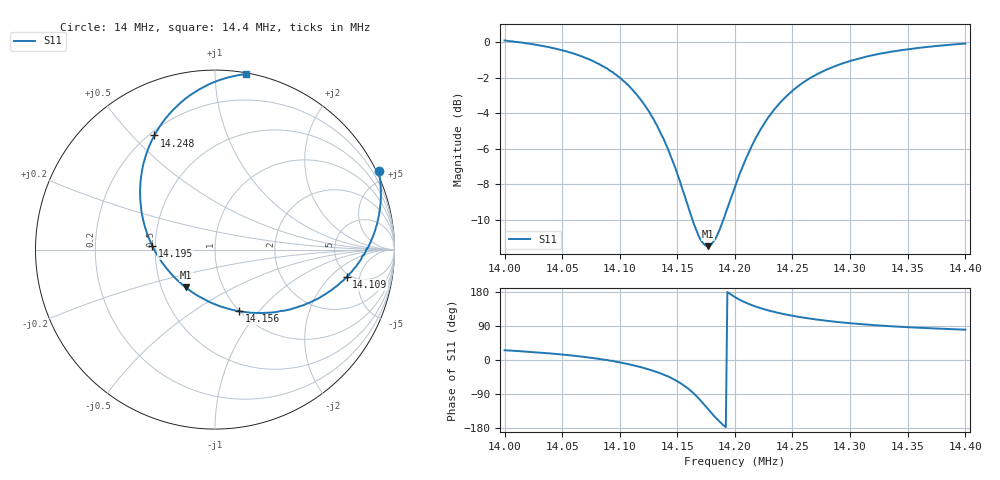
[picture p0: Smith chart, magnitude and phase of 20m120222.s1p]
# HZ S RI R 50
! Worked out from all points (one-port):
!   303 points, 14 MHz to 14.4 MHz, reference 50 ohm
!   lowest |S11| = -11.5 dB at 14.176 MHz (marker M1), VSWR 1.73, Z = 33.2 - j15 ohm
!   |S11| at or under -10 dB: 14.16317 MHz to 14.19 MHz (26.83 kHz wide, 0.189 % of centre)
!   S11 on the Smith chart (normalised r, x): 14 MHz: -0.13, +4.38; 14.109 MHz: 4.65, -3.24; 14.156 MHz: 1.00, -0.79; 14.195 MHz: 0.48, +0.02; 14.248 MHz: 0.22, +0.58; 14.4 MHz: 0.01, +1.19
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1.4e7  0.9126 0.4394
1.402518e7  0.9234 0.3509
1.405035e7  0.92 0.2357
1.407818e7  0.8786 0.0695
1.408878e7  0.8453 0.00711
1.40901e7  0.8391 -0.0138
1.41007e7  0.7872 -0.0926
1.410865e7  0.7338 -0.1527
1.411925e7  0.6427 -0.2298
1.412985e7  0.5254 -0.2963
1.414045e7  0.3833 -0.3406
1.415105e7  0.221 -0.3526
1.415635e7  0.1349 -0.3438
1.416828e7  -0.0524 -0.2808
1.417622e7  -0.1639 -0.2097
1.418418e7  -0.2574 -0.1198
1.419478e7  -0.3495 0.0209
1.420008e7  -0.3803 0.0954
1.420935e7  -0.4111 0.2238
1.421995e7  -0.4162 0.3609
1.423188e7  -0.3939 0.4951
1.424778e7  -0.3377 0.6359
1.425042e7  -0.3265 0.6563
1.42703e7  -0.2369 0.7751
1.430078e7  -0.1064 0.8816
1.432595e7  -0.0148 0.9294
1.435112e7  0.0606 0.9553
1.440015e7  0.1722 0.9776
